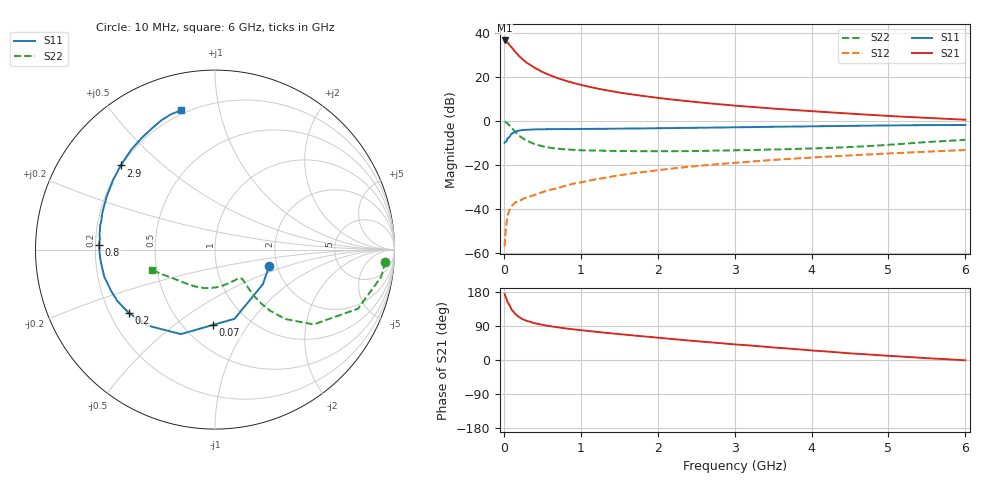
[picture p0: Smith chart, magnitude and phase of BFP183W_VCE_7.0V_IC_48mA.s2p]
! Infineon Technologies  Discrete & RF Semiconductors
! BFP183W
! VCE =  7.0 V,  IC =  48 mA
! Common Emitter S-Parameters:  Jan 2017
# GHz  S  MA  R  50
!  f  S11  S21  S12  S22
! GHz  MAG  ANG  MAG  ANG  MAG  ANG  MAG  ANG
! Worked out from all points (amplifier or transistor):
!   77 points, 10 MHz to 6 GHz, reference 50 ohm
!   highest |S21| = 36.5 dB at 10 MHz (marker M1)
!   |S21| within 3 dB of that: start of sweep to 97.34 MHz
!   unconditionally stable (mu >= 1): 672.7 MHz to 3.313 GHz
!   at 130 MHz: K = 0.38, MSG = 35.0 dB, |S12| = -37.8 dB
!   at 2.2 GHz: K = 1.06, MAG = 14.1 dB, |S12| = -21.7 dB
!   at 6 GHz: K = 0.85, MSG = 6.9 dB, |S12| = -13.3 dB
!   S11 on the Smith chart (normalised r, x): 10 MHz: 1.82, -0.37; 70 MHz: 0.69, -0.70; 200 MHz: 0.28, -0.30; 800 MHz: 0.21, +0.02; 2.9 GHz: 0.20, +0.37; 6 GHz: 0.18, +0.77
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0.01  0.3152 -16.7  66.8 174.4  0.0014 83.6  0.9505 -4.1
0.02  0.3292 -35.7  65.46 168.2  0.0026 92.8  0.9389 -9.2
0.05  0.4007 -74.3  59.5 152.6  0.0072 65.5  0.8617 -22.5
0.07  0.4199 -91.5  53.69 145.9  0.0089 62.9  0.7871 -27.6
0.1  0.5077 -112.0  46.76 133.1  0.0114 60.5  0.6899 -37.2
0.15  0.5682 -132.0  36.59 121.1  0.0139 52.4  0.5496 -44.7
0.2  0.5962 -143.8  29.39 112.9  0.0147 52.4  0.4575 -48.0
0.25  0.6145 -152.1  24.4 107.2  0.0168 50.7  0.3933 -49.4
0.3  0.6225 -158.1  20.71 103.1  0.018 51.8  0.3489 -49.8
0.4  0.6349 -166.1  15.93 97.0  0.0205 56.0  0.2933 -49.3
0.5  0.6374 -171.5  12.85 92.7  0.0237 56.8  0.2628 -48.4
0.6  0.6419 -175.8  10.8 89.2  0.0268 60.0  0.243 -47.9
0.7  0.6436 -179.2  9.274 86.3  0.0291 62.6  0.2305 -47.2
0.8  0.6463 177.5  8.145 83.4  0.0332 63.7  0.2231 -47.3
1.1  0.6508 170.1  5.95 76.6  0.043 65.1  0.2108 -49.2
1.5  0.6602 161.9  4.377 68.4  0.0573 66.3  0.2039 -54.6
2.1  0.6762 150.8  3.157 57.1  0.0783 64.7  0.2024 -67.3
2.9  0.7037 138.2  2.284 43.0  0.1065 61.0  0.2105 -88.9
3.1  0.7107 135.3  2.138 39.8  0.1135 59.8  0.2132 -94.3
4.1  0.7478 121.8  1.606 23.8  0.1485 53.5  0.2361 -121.3
5.1  0.7825 111.5  1.256 9.9  0.1831 46.8  0.2908 -147.7
6  0.7983 103.7  1.05 -0.9  0.2155 40.4  0.3667 -162.0
